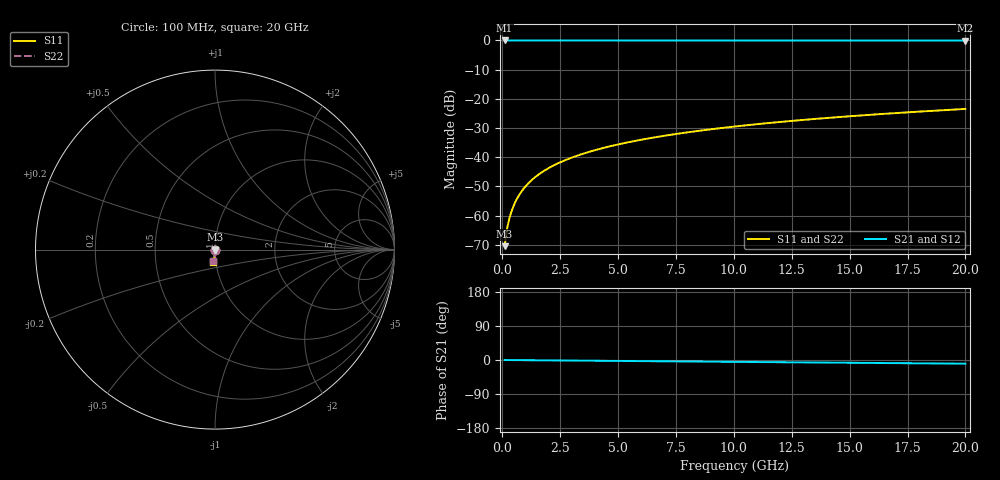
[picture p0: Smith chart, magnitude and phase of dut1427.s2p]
! Touchstone file exported from HFSS 2026.1.0
!  File:  C:/ffzhzh/LocalFiles/Ansys_Project_Files/temp_train_TSV_1427_1783197414_43440.aedt
!  Generated:  04:38:11 AM Jul  5, 2026
!  Design:  TSV
!  Project:  temp_train_TSV_1427_1783197414_43440
! Variables:
!  h_bsmrdl = 2um
!  h_ox = 20um
!  h_rdl = 5um
!  h_sub = 94.82um
!  h_tmrdl = 5um
!  h_tsv = 94.82um
!  h_via = 3um
!  l_bsmrdl = 300um
!  l_sub = 427.58um
!  l_tmrdl = 200um
!  m_sub = 200um
!  pitch = 39.15um
!  r_tsv = 13.79um
!  s_tmrdl = 10um
!  w_bsmrdl = 18um
!  w_sub = 500um
!  w_tmrdl = 12um
!  x_tsv_center1 = 206um
!  x_tsv_center2 = 524um
!  x_tsv_center3 = 736um
!  x_tsv_center4 = 1054um
!  x_tsv_center5 = 1266um
!  x_tsv_center6 = 1584um
# GHz S MA R 50.000000
! Terminal data exported
! Port[1] = TSV1_1_T1
! Port[2] = TSV1_1_T2
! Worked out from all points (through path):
!   200 points, 100 MHz to 20 GHz, reference 50 ohm
!   highest |S21| = 0.00 dB at 100 MHz (marker M1); lowest = 0.0 dB at 20 GHz (marker M2)
!   group delay of S21, straight-line fit = 1.35 ps
!   lowest |S11| = -70.5 dB at 100 MHz (marker M3), VSWR 1.00, Z = 50 - j0.0282 ohm
!   |S11| at or under -10 dB: start of sweep to end of sweep
!   |S22| runs from -70.5 to -23.5 dB; largest |S21 - S12| = 3.7e-15
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0.1  0.0002983 -70.9  0.9999 -0.1  0.9999 -0.1  0.0002983 -70.9
! Gamma 0 0 0 0
! Port Impedance 50 0 50 0
0.2  0.0005808 -78.5  0.9999 -0.1  0.9999 -0.1  0.0005808 -78.5
0.3  0.000877 -80.7  0.9999 -0.2  0.9999 -0.2  0.000877 -80.7
0.4  0.001184 -81.7  0.9998 -0.2  0.9998 -0.2  0.001184 -81.7
0.5  0.0015 -82.3  0.9998 -0.3  0.9998 -0.3  0.0015 -82.3
0.7  0.00215 -83.3  0.9997 -0.4  0.9997 -0.4  0.00215 -83.3
0.8  0.00248 -83.8  0.9997 -0.4  0.9997 -0.4  0.00248 -83.8
1  0.003145 -84.6  0.9997 -0.5  0.9997 -0.5  0.003145 -84.6
1.2  0.003813 -85.3  0.9996 -0.6  0.9996 -0.6  0.003813 -85.3
1.4  0.004481 -85.8  0.9996 -0.7  0.9996 -0.7  0.004481 -85.8
1.7  0.005483 -86.5  0.9996 -0.8  0.9996 -0.8  0.005483 -86.6
2  0.006484 -87.1  0.9995 -1.0  0.9995 -1.0  0.006484 -87.1
2.7  0.008819 -88.1  0.9995 -1.3  0.9995 -1.3  0.008819 -88.1
3.5  0.01149 -89.0  0.9994 -1.7  0.9994 -1.7  0.01149 -89.0
4.2  0.01384 -89.5  0.9993 -2.1  0.9993 -2.1  0.01384 -89.5
5  0.01652 -90.1  0.9992 -2.5  0.9992 -2.5  0.01652 -90.1
6.8  0.02259 -91.3  0.999 -3.3  0.999 -3.3  0.02259 -91.3
8.3  0.02765 -92.3  0.9987 -4.1  0.9987 -4.1  0.02765 -92.3
10.1  0.03373 -93.3  0.9985 -4.9  0.9985 -4.9  0.03373 -93.3
13.4  0.04486 -95.1  0.9979 -6.5  0.9979 -6.5  0.04486 -95.1
16.7  0.05597 -96.9  0.9972 -8.1  0.9972 -8.1  0.05597 -96.9
20  0.06705 -98.6  0.9964 -9.7  0.9964 -9.7  0.06705 -98.6
